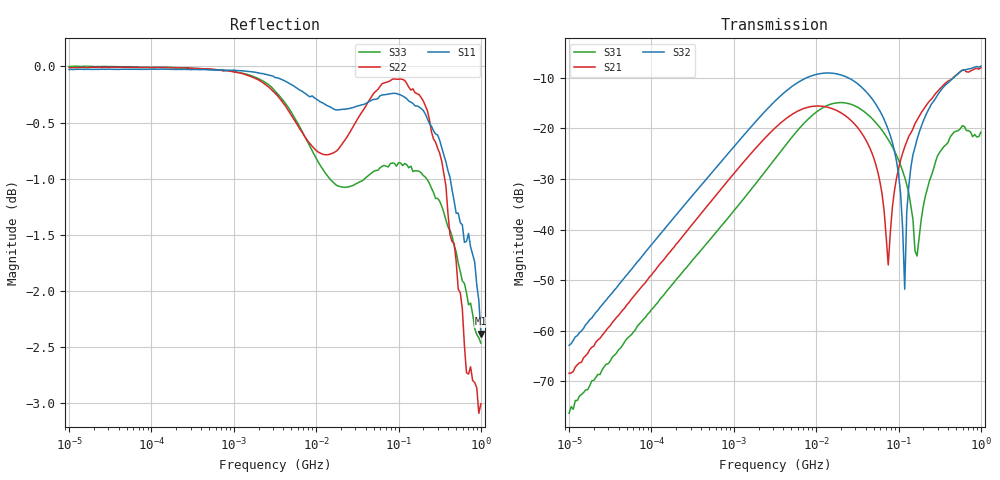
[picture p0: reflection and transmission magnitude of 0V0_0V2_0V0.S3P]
!Keysight Technologies,E5080A,MY55100144,A.11.70.03
!Date: Monday, November 13, 2017 17:23:46
!Correction: S11(Full 3 Port(1,2,3))
!S12(Full 3 Port(1,2,3))
!S13(Full 3 Port(1,2,3))
!S21(Full 3 Port(1,2,3))
!S22(Full 3 Port(1,2,3))
!S23(Full 3 Port(1,2,3))
!S31(Full 3 Port(1,2,3))
!S32(Full 3 Port(1,2,3))
!S33(Full 3 Port(1,2,3))
!S3P File: Measurements: <S11,S12,S13>,
!<S21,S22,S23>,
!<S31,S32,S33>:Log Frequency Sweep
# Hz S  RI  R 50
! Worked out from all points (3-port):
!   201 points, 10 kHz to 1 GHz, reference 50 ohm
!   strongest paths, dB at 10 kHz, 177.8 kHz, 3.162 MHz, 56.23 MHz, 1 GHz:
!     S32: -62.9, -38.1, -14.6, -15.9, -7.7
!     S21: -68.5, -43.9, -19.9, -28.7, -8.0
!     S31: -76.4, -50.9, -26.0, -19.3, -20.7
!   lowest |S11| = -2.4 dB at 1 GHz (marker M1), VSWR 7.35, Z = 367 + j11.4 ohm
!   |S11| at or under -10 dB: nowhere
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10000  0.9968 -0.00166  -8.63e-08 0.000359  1.15e-05 0.000155
       4.41e-06 0.000378  0.9989 -0.0037  3.1e-06 0.000695
       -1.32e-05 0.000151  8.78e-06 0.000715  0.9998 -0.00236
3162278  0.865 -0.4788  0.0595 0.0816  0.0109 0.049
         0.0593 0.0817  0.6429 -0.7304  0.1008 0.1568
         0.0111 0.049  0.1011 0.1568  0.9351 -0.2763
1.258925e7  -0.0253 -0.9618  0.1637 -0.0166  0.1466 0.0726
            0.1639 -0.0168  -0.48 -0.7773  0.3525 0.0186
            0.1468 0.0724  0.3525 0.0186  0.522 -0.7303
5.011872e7  -0.9072 -0.3341  0.0232 -0.0452  0.0712 -0.0967
            0.0231 -0.0453  -0.967 -0.1074  0.0869 -0.1646
            0.071 -0.0969  0.087 -0.1645  -0.5862 -0.6804
7.498942e7  -0.9662 -0.1064  0.00443 0.000841  0.023 -0.0742
            0.00438 0.00083  -0.9779 0.1138  0.0183 -0.0957
            0.0229 -0.0741  0.0182 -0.0956  -0.7961 -0.4242
1.188502e8  -0.9574 0.1489  0.0187 0.0627  0.000557 -0.0328
            0.0188 0.0628  -0.9052 0.3903  0.000987 0.00236
            0.000558 -0.0328  0.000978 0.00237  -0.8996 -0.1006
1.333521e8  -0.9404 0.2167  0.03 0.0782  -0.000718 -0.0228
            0.0301 0.0782  -0.8636 0.4608  0.00731 0.0262
            -0.00071 -0.0229  0.00729 0.0261  -0.9011 -0.0183
1.883649e8  -0.8605 0.4205  0.0831 0.116  0.0115 0.00517
            0.0833 0.116  -0.6898 0.6799  0.0544 0.0889
            0.0113 0.00522  0.0543 0.0889  -0.8666 0.2301
5.623413e8  0.0973 0.8463  0.3226 -0.1715  0.066 -0.074
            0.3228 -0.1718  0.5621 0.5591  0.3359 -0.1423
            0.066 -0.0741  0.3358 -0.142  -0.0625 0.8079
1e9  0.7603 0.00657  -0.0939 -0.3868  -0.0564 -0.0724
     -0.0944 -0.3868  0.5912 -0.3888  -0.045 -0.411
     -0.0562 -0.0726  -0.0447 -0.411  0.6865 0.3093
